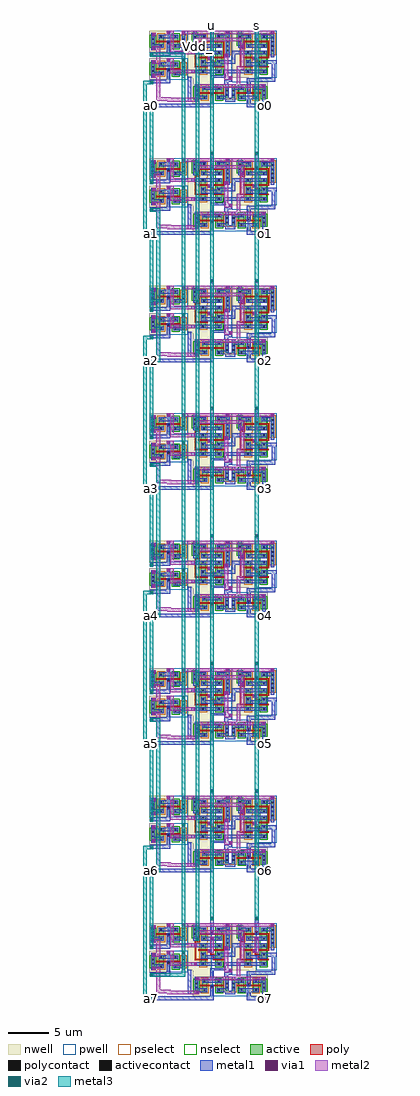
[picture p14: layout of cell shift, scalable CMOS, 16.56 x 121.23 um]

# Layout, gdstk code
from math import pi, radians
import gdstk
lib = gdstk.Library(unit=1e-6, precision=1e-09)
def R(c, l, rs):  # rectangles x0, y0, x1, y1
    for r in rs: c.add(gdstk.rectangle(r[:2], r[2:], *l))
def A(c, l, x, y, w, h, nx, ny, dx, dy):  # array of equal rectangles
    R(c, l, [(x+i*dx, y+j*dy, x+i*dx+w, y+j*dy+h) for i in range(nx) for j in range(ny)])
pwell = (41, 0)
nwell = (42, 0)
active = (43, 0)
pselect = (44, 0)
nselect = (45, 0)
poly = (46, 0)
polycontact = (47, 0)
activecontact = (48, 0)
metal1 = (49, 0)
via1 = (50, 0)
metal2 = (51, 0)
via2 = (61, 0)
metal3 = (62, 0)

inv = lib.new_cell('inv')
R(inv, pwell, [(-0.9,-1.17,1.8,1.17)])
R(inv, nwell, [(-0.9,1.26,1.8,3.6)])
R(inv, active, [(-0.18,-0.9,1.08,-0.45), (-0.36,0,1.26,0.63), (-0.36,1.8,1.26,2.43), (-0.18,2.88,1.08,3.33)])
R(inv, pselect, [(-0.36,-1.08,1.26,-0.27), (-0.54,1.62,1.44,2.61)])
R(inv, nselect, [(-0.54,-0.18,1.44,0.81), (-0.36,2.7,1.26,3.51)])
R(inv, poly, [(0.36,-0.27,0.54,0.99), (0.09,0.99,0.54,1.44), (0.36,1.44,0.54,2.7)])
R(inv, polycontact, [(0.225,1.125,0.405,1.305)])
R(inv, activecontact, [(0.09,-0.765,0.27,-0.585), (0.63,-0.765,0.81,-0.585), (-0.225,0.225,-0.045,0.405), (0.945,0.225,1.125,0.405), (-0.225,2.025,-0.045,2.205), (0.945,2.025,1.125,2.205), (0.09,3.015,0.27,3.195), (0.63,3.015,0.81,3.195)])
R(inv, metal1, [(-0.63,-0.9,1.53,-0.45), (-0.36,-0.45,0.09,0.63), (0.81,0,1.26,0.99), (-0.9,0.99,0.54,1.44), (0.81,0.99,1.8,1.44), (0.81,1.44,1.26,2.43), (-0.36,1.8,0.09,2.88), (-0.63,2.88,1.53,3.33)])
inv.add(gdstk.Label('in', (-0.9,1.215), layer=49, texttype=0))
inv.add(gdstk.Label('out', (1.8,1.215), layer=49, texttype=0))
inv.add(gdstk.Label('Vdd_', (-0.45,3.06), layer=49, texttype=0))
inv.add(gdstk.Label('GND_', (-0.45,-0.63), layer=49, texttype=0))

c_2mux_nr = lib.new_cell('2mux_nr')
R(c_2mux_nr, pwell, [(0.09,-3.42,2.61,2.43)])
R(c_2mux_nr, nwell, [(-2.88,-3.42,0.09,2.43)])
R(c_2mux_nr, active, [(-1.26,-2.88,-0.63,-0.09), (0.72,-2.88,1.35,-0.09), (1.89,-0.45,2.34,1.98), (-1.17,0.27,-0.54,1.89), (0.72,0.27,1.35,1.89), (-2.16,0.72,-1.71,1.98)])
R(c_2mux_nr, pselect, [(-1.44,-3.06,-0.45,0.09), (1.71,-0.63,2.52,2.16), (-1.35,0.09,-0.36,2.07)])
R(c_2mux_nr, nselect, [(0.54,-3.06,1.53,2.07), (-2.34,0.54,-1.53,2.16)])
R(c_2mux_nr, poly, [(-1.98,-2.16,-0.36,-1.98), (0.27,-2.16,1.62,-1.98), (-1.98,-1.98,-1.8,0.09), (0.27,-1.98,0.45,-1.53), (-0.09,-1.53,0.45,-1.35), (-0.09,-1.35,0.09,-1.26), (-0.36,-1.26,0.09,-0.99), (-1.53,-0.99,0.09,-0.81), (0.45,-0.99,1.71,-0.81), (1.53,-0.81,1.71,0.99), (-1.98,0.09,-1.35,0.27), (-1.53,0.27,-1.35,0.99), (-1.53,0.99,1.71,1.17), (-0.09,1.17,0.36,1.44)])
R(c_2mux_nr, polycontact, [(-0.225,-1.125,-0.045,-0.945), (0.045,1.125,0.225,1.305)])
A(c_2mux_nr, activecontact, -1.035, -2.745, 0.18, 0.18, 1, 3, 0, 1.17)
A(c_2mux_nr, activecontact, 0.945, -2.745, 0.18, 0.18, 1, 3, 0, 1.17)
A(c_2mux_nr, activecontact, 2.025, -0.135, 0.18, 0.18, 1, 4, 0, 0.54)
R(c_2mux_nr, activecontact, [(-0.945,0.405,-0.765,0.585), (0.945,0.405,1.125,0.585), (-2.025,0.99,-1.845,1.17), (-2.025,1.53,-1.845,1.71), (-0.945,1.575,-0.765,1.755), (0.945,1.575,1.125,1.755)])
R(c_2mux_nr, metal1, [(-2.43,-2.88,1.35,-2.43), (-1.26,-1.98,1.35,-1.71), (-1.26,-1.71,2.61,-1.53), (-1.26,-1.53,-0.63,-1.26), (0.72,-1.53,2.61,-1.26), (-0.36,-1.26,0.09,-0.81), (1.89,-0.9,2.34,1.44), (-2.43,-0.54,1.35,-0.09), (-2.16,0.27,-1.71,1.44), (-1.17,0.27,1.35,0.72), (-0.09,0.99,0.36,2.43), (-2.16,1.44,-0.54,1.89), (0.72,1.44,2.34,1.89), (-2.16,1.89,-1.71,2.43), (1.89,1.89,2.34,2.43)])
R(c_2mux_nr, via1, [(-0.27,-1.17,0,-0.9), (0,0.36,0.27,0.63)])
R(c_2mux_nr, metal2, [(-0.36,-1.26,0.36,-0.81), (-0.09,-0.81,0.36,0.72)])
c_2mux_nr.add(gdstk.Label('s', (0.135,2.43), layer=49, texttype=0))
c_2mux_nr.add(gdstk.Label('GND_', (2.115,2.43), layer=49, texttype=0))
c_2mux_nr.add(gdstk.Label('out', (2.61,-1.485), layer=49, texttype=0))
c_2mux_nr.add(gdstk.Label('Vdd_', (-1.935,2.43), layer=49, texttype=0))
c_2mux_nr.add(gdstk.Label('in1', (-2.43,-0.315), layer=49, texttype=0))
c_2mux_nr.add(gdstk.Label('in0', (-2.43,-2.655), layer=49, texttype=0))

shift_one = lib.new_cell('shift_one')
R(shift_one, pwell, [(-2.34,-3.42,0.09,-2.88), (-1.08,2.52,-0.63,2.97), (4.41,2.52,5.13,2.97)])
R(shift_one, nwell, [(-4.77,-3.42,-2.43,-2.88), (2.25,-3.42,3.15,-2.88)])
A(shift_one, metal1, -9.81, -2.88, 0.45, 0.45, 1, 4, 0, 1.71)
R(shift_one, metal1, [(-10.08,-6.57,-2.16,-6.12), (1.98,-6.57,4.5,-6.12), (-5.4,-5.85,-4.95,-2.79), (-4.41,-5.85,-3.96,-5.4), (-0.45,-5.85,0.36,-5.4), (-4.41,-4.14,-3.96,-3.69), (3.78,-4.14,4.23,-3.69), (-10.08,-3.69,-9.63,-3.6), (-0.81,-3.69,-0.36,-3.42), (-10.08,-3.6,-7.56,-3.15), (-2.61,-3.51,-2.16,-2.88), (-0.81,-3.42,0.18,-3.15), (1.98,-3.42,5.49,-2.97), (-0.27,-3.15,0.18,-2.7), (5.04,-2.97,5.49,-0.99), (-2.61,-2.88,-0.63,-2.61), (-0.9,-2.61,-0.63,-2.34), (-4.68,-2.34,-4.23,-1.89), (-0.9,-2.34,0.63,-1.89), (0.09,-1.17,0.54,0), (-8.01,-0.9,-7.56,-0.45), (-6.12,-0.9,-5.67,0.63), (-0.81,-0.36,-0.36,0.09), (-10.08,-0.27,-9.63,-0.18), (-10.08,-0.18,-7.56,0.27), (-4.68,0,-4.23,0.45), (0.09,0,0.63,0.45), (-4.41,0.81,-3.96,1.26), (1.17,0.81,1.62,1.26), (-8.01,2.52,-7.56,2.97), (-6.12,2.52,-5.67,2.97), (-0.63,2.52,-0.18,2.97), (4.95,2.52,5.4,2.97), (-2.61,2.97,-2.16,3.78), (2.97,2.97,3.42,3.78)])
A(shift_one, via1, -9.72, -2.79, 0.27, 0.27, 1, 4, 0, 1.71)
R(shift_one, via1, [(-9.99,-6.48,-9.72,-6.21), (4.14,-6.48,4.41,-6.21), (-4.32,-5.76,-4.05,-5.49), (-4.32,-4.05,-4.05,-3.78), (3.87,-4.05,4.14,-3.78), (-9.99,-3.6,-9.72,-3.33), (-0.18,-3.06,0.09,-2.79), (-4.59,-2.25,-4.32,-1.98), (-7.92,-0.81,-7.65,-0.54), (-6.03,-0.81,-5.76,-0.54), (-0.72,-0.27,-0.45,0), (-9.99,-0.18,-9.72,0.09), (-4.59,0.09,-4.32,0.36), (-4.32,0.9,-4.05,1.17), (1.26,0.9,1.53,1.17), (-7.92,2.61,-7.65,2.88), (-6.03,2.61,-5.76,2.88), (-0.54,2.61,-0.27,2.88), (5.04,2.61,5.31,2.88), (-2.52,3.42,-2.25,3.69), (3.06,3.42,3.33,3.69)])
A(shift_one, metal2, -9.81, -2.88, 0.99, 0.45, 1, 3, 0, 1.71)
R(shift_one, metal2, [(-10.08,-6.57,-9.63,-6.12), (4.05,-6.57,4.5,-6.12), (-7.92,-5.85,-3.96,-5.76), (-9.27,-5.76,-3.96,-5.4), (-9.27,-5.4,-7.47,-5.31), (-9.27,-5.31,-8.82,-2.88), (-4.41,-4.14,4.23,-3.69), (-10.08,-3.69,-9.63,-3.24), (0.72,-3.69,1.17,-1.89), (-0.81,-3.15,0.18,-2.7), (-0.81,-2.7,-0.36,0.09), (-7.56,-2.34,-4.23,-1.89), (-7.56,-1.89,-7.11,-0.9), (0.72,-1.89,1.62,-1.44), (1.17,-1.44,1.62,1.62), (-8.01,-0.9,-7.11,-0.45), (-6.12,-0.9,-5.67,-0.45), (-9.27,-0.72,-8.82,0.54), (-10.08,-0.27,-9.63,0.18), (-7.56,0,-4.23,0.45), (-7.56,0.45,-7.11,2.52), (-4.41,0.81,-3.96,1.62), (-4.41,1.62,1.62,2.07), (-9.81,2.25,-9.36,2.7), (-8.01,2.52,-7.11,2.97), (-6.12,2.52,5.4,2.97), (-2.61,3.33,-2.16,3.78), (2.97,3.33,3.42,3.78)])
R(shift_one, via2, [(-9.99,-6.48,-9.72,-6.21), (-9.99,-3.6,-9.72,-3.33), (-6.03,-0.81,-5.76,-0.54), (-9.99,-0.18,-9.72,0.09), (-4.32,0.9,-4.05,1.17), (-2.52,3.42,-2.25,3.69), (3.06,3.42,3.33,3.69)])
R(shift_one, metal3, [(-10.08,-6.57,-9.63,-6.12), (-10.08,-3.69,-9.63,-3.24), (-6.12,-0.9,-5.67,-0.45), (-10.08,-0.27,-9.63,0.18), (-4.41,0.81,-3.96,1.26), (-2.61,3.33,-2.16,3.78), (2.97,3.33,3.42,3.78)])
shift_one.add(gdstk.Reference(inv, (0.99,-4.32), rotation=3*pi/2))
shift_one.add(gdstk.Reference(inv, (-1.17,-5.22), rotation=pi/2))
shift_one.add(gdstk.Reference(inv, (-6.57,1.17), rotation=pi/2))
shift_one.add(gdstk.Reference(inv, (-6.57,-2.25), rotation=pi/2))
shift_one.add(gdstk.Reference(c_2mux_nr, (-2.52,0.54)))
shift_one.add(gdstk.Reference(c_2mux_nr, (3.06,0.54)))
shift_one.add(gdstk.Label('GND_', (-4.05,2.7), layer=51, texttype=0))
shift_one.add(gdstk.Label('o', (4.5,-6.345), layer=51, texttype=0))
shift_one.add(gdstk.Label('u', (-2.385,3.33), layer=49, texttype=0))
shift_one.add(gdstk.Label('au', (-10.08,0.045), layer=49, texttype=0))
shift_one.add(gdstk.Label('ad', (-10.08,-3.42), layer=49, texttype=0))
shift_one.add(gdstk.Label('Vdd_', (-7.65,-5.67), layer=51, texttype=0))
shift_one.add(gdstk.Label('a', (-10.08,-6.345), layer=49, texttype=0))
shift_one.add(gdstk.Label('s', (3.195,3.33), layer=49, texttype=0))

shift = lib.new_cell('shift')
A(shift, metal2, 2.52, -145.35, 0.45, 0.45, 1, 8, 0, 15.84)
A(shift, metal3, -12.42, -144.9, 0.45, 18.27, 1, 4, 0, 31.68)
A(shift, metal3, -11.61, -139.05, 0.45, 9.54, 1, 6, 0, 15.84)
A(shift, metal3, -10.8, -129.06, 0.45, 18.27, 1, 3, 0, 31.68)
R(shift, metal3, [(-12.42,-145.35,-11.16,-144.9), (-11.16,-142.47,-7.2,-142.02), (-7.65,-142.02,-7.2,-28.17), (-5.94,-137.97,-5.49,-26.64), (-4.14,-135.45,-3.69,-24.12), (1.44,-135.45,1.89,-24.12), (-11.61,-129.51,-10.35,-129.06), (-12.42,-126.63,-11.16,-126.18), (-12.42,-113.67,-11.16,-113.22), (-11.61,-110.79,-10.35,-110.34), (-11.61,-97.83,-10.35,-97.38), (-12.42,-94.95,-11.16,-94.5), (-12.42,-81.99,-11.16,-81.54), (-11.61,-79.11,-10.35,-78.66), (-11.61,-66.15,-10.35,-65.7), (-12.42,-63.27,-11.16,-62.82), (-12.42,-50.31,-11.16,-49.86), (-11.61,-47.43,-10.35,-46.98), (-11.61,-44.01,-11.16,-34.02), (-12.42,-31.59,-11.16,-31.14), (-11.16,-28.17,-7.2,-27.72)])
shift.add(gdstk.Reference(shift_one, (-1.53,-122.94)))
shift.add(gdstk.Reference(shift_one, (-1.53,-27.9)))
shift.add(gdstk.Reference(shift_one, (-1.53,-43.74)))
shift.add(gdstk.Reference(shift_one, (-1.53,-59.58)))
shift.add(gdstk.Reference(shift_one, (-1.53,-75.42)))
shift.add(gdstk.Reference(shift_one, (-1.53,-91.26)))
shift.add(gdstk.Reference(shift_one, (-1.53,-107.1)))
shift.add(gdstk.Reference(shift_one, (-1.53,-138.78)))
shift.add(gdstk.Label('Vdd_', (-5.715,-26.865), layer=62, texttype=0))
shift.add(gdstk.Label('GND_', (-7.425,-27.945), layer=62, texttype=0))
shift.add(gdstk.Label('o7', (2.745,-145.125), layer=51, texttype=0))
shift.add(gdstk.Label('o6', (2.745,-129.285), layer=51, texttype=0))
shift.add(gdstk.Label('o5', (2.745,-113.445), layer=51, texttype=0))
shift.add(gdstk.Label('o4', (2.745,-97.605), layer=51, texttype=0))
shift.add(gdstk.Label('o3', (2.745,-81.765), layer=51, texttype=0))
shift.add(gdstk.Label('o2', (2.745,-65.925), layer=51, texttype=0))
shift.add(gdstk.Label('o1', (2.745,-50.085), layer=51, texttype=0))
shift.add(gdstk.Label('o0', (2.745,-34.245), layer=51, texttype=0))
shift.add(gdstk.Label('u', (-3.915,-24.345), layer=62, texttype=0))
shift.add(gdstk.Label('s', (1.665,-24.345), layer=62, texttype=0))
shift.add(gdstk.Label('a0', (-11.385,-34.245), layer=62, texttype=0))
shift.add(gdstk.Label('a1', (-11.385,-50.085), layer=62, texttype=0))
shift.add(gdstk.Label('a2', (-11.385,-65.925), layer=62, texttype=0))
shift.add(gdstk.Label('a3', (-11.385,-81.765), layer=62, texttype=0))
shift.add(gdstk.Label('a4', (-11.385,-97.605), layer=62, texttype=0))
shift.add(gdstk.Label('a5', (-11.385,-113.445), layer=62, texttype=0))
shift.add(gdstk.Label('a6', (-11.385,-129.285), layer=62, texttype=0))
shift.add(gdstk.Label('a7', (-11.385,-145.125), layer=62, texttype=0))

lib.write_gds('shift.gds')
